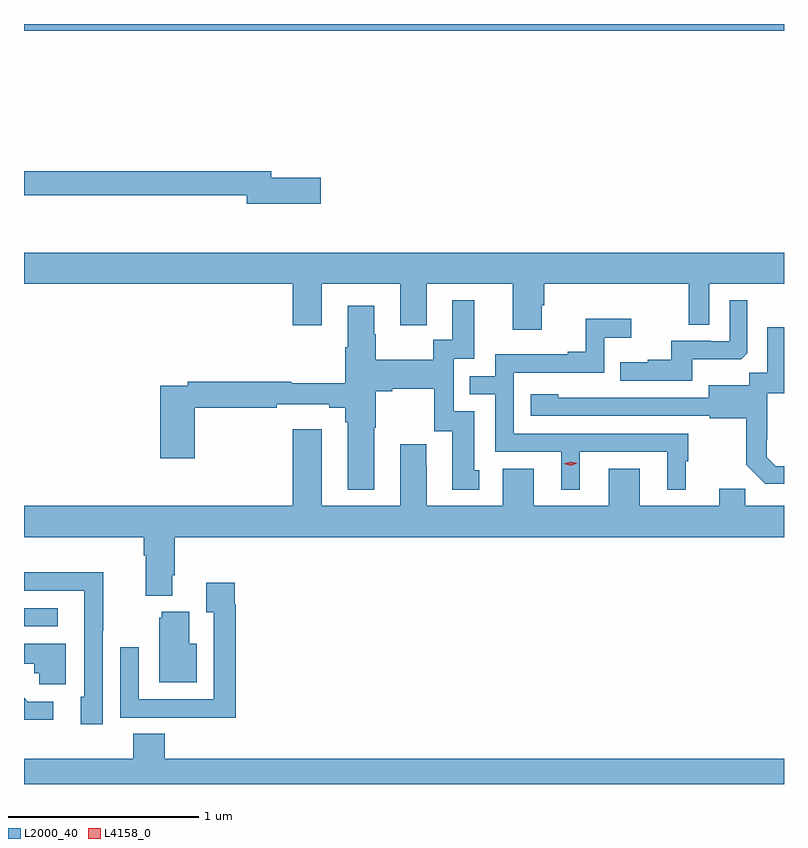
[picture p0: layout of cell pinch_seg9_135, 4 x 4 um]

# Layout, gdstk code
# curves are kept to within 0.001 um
import gdstk
lib = gdstk.Library(unit=1e-6, precision=1e-09)
def R(c, l, rs):  # rectangles x0, y0, x1, y1
    for r in rs: c.add(gdstk.rectangle(r[:2], r[2:], *l))
def P(c, l, *ps):  # polygons
    for p in ps: c.add(gdstk.Polygon(p, *l))
L2000_40 = (2000, 40)
L4158_0 = (4158, 0)

pinch_seg9_135 = lib.new_cell('pinch_seg9_135')
R(pinch_seg9_135, L2000_40, [(650.13,1238.574,650.308,1238.67), (650.13,1241.708,654.13,1241.744)])
P(pinch_seg9_135, L2000_40, [(651.691,1240.934),(651.43,1240.934),(651.43,1240.97),(650.13,1240.97),(650.13,1240.842),(651.302,1240.842),(651.302,1240.799),(651.691,1240.799)],
  [(652.855,1240.263),(652.868,1240.263),(652.868,1240.376),(653.628,1240.376),(653.628,1240.162),(653.736,1240.162),(653.736,1240.376),(654.13,1240.376),(654.13,1240.54),(650.13,1240.54),(650.13,1240.376),(651.545,1240.376),(651.545,1240.158),(651.697,1240.158),(651.697,1240.376),(652.109,1240.376),(652.109,1240.158),(652.249,1240.158),(652.249,1240.376),(652.703,1240.376),(652.703,1240.134),(652.855,1240.134)],
  [(653.647,1239.98),(653.905,1239.98),(653.937,1240.011),(653.937,1240.291),(653.844,1240.291),(653.844,1240.074),(653.744,1240.074),(653.744,1240.077),(653.537,1240.077),(653.537,1239.976),(653.413,1239.976),(653.413,1239.964),(653.269,1239.964),(653.269,1239.867),(653.647,1239.867)],
  [(651.973,1239.619),(651.981,1239.619),(651.981,1239.812),(652.069,1239.812),(652.069,1239.824),(652.289,1239.824),(652.289,1239.6),(652.385,1239.6),(652.385,1239.294),(652.525,1239.294),(652.525,1239.396),(652.501,1239.396),(652.501,1239.705),(652.392,1239.705),(652.392,1239.981),(652.501,1239.981),(652.501,1240.291),(652.385,1240.291),(652.385,1240.082),(652.284,1240.082),(652.284,1239.976),(651.981,1239.976),(651.981,1240.11),(651.973,1240.11),(651.973,1240.261),(651.833,1240.261),(651.833,1240.043),(651.821,1240.043),(651.821,1239.853),(651.537,1239.853),(651.537,1239.86),(650.992,1239.86),(650.992,1239.84),(650.846,1239.84),(650.846,1239.459),(651.029,1239.459),(651.029,1239.724),(651.461,1239.724),(651.461,1239.743),(651.737,1239.743),(651.737,1239.724),(651.821,1239.724),(651.821,1239.647),(651.833,1239.647),(651.833,1239.293),(651.973,1239.293)],
  [(653.056,1239.492),(653.516,1239.492),(653.516,1239.293),(653.614,1239.293),(653.614,1239.444),(653.626,1239.444),(653.626,1239.588),(652.707,1239.588),(652.707,1239.909),(653.184,1239.909),(653.184,1240.094),(653.326,1240.094),(653.326,1240.193),(653.086,1240.193),(653.086,1240.018),(652.991,1240.018),(652.991,1240.005),(652.611,1240.005),(652.611,1239.891),(652.477,1239.891),(652.477,1239.795),(652.611,1239.795),(652.611,1239.492),(652.958,1239.492),(652.958,1239.293),(653.056,1239.293)],
  [(654.13,1239.417),(654.087,1239.417),(654.04,1239.464),(654.04,1239.559),(654.042,1239.559),(654.042,1239.8),(654.13,1239.8),(654.13,1240.147),(654.041,1240.147),(654.041,1239.908),(653.946,1239.908),(653.946,1239.844),(653.735,1239.844),(653.735,1239.777),(652.941,1239.778),(652.941,1239.796),(652.797,1239.796),(652.797,1239.681),(653.739,1239.681),(653.739,1239.669),(653.931,1239.669),(653.931,1239.423),(654.031,1239.323),(654.13,1239.323)],
  [(650.911,1238.842),(650.924,1238.842),(650.924,1239.044),(654.13,1239.044),(654.13,1239.208),(653.927,1239.208),(653.927,1239.299),(653.789,1239.299),(653.789,1239.208),(653.371,1239.208),(653.371,1239.403),(653.207,1239.403),(653.207,1239.208),(652.813,1239.208),(652.813,1239.403),(652.649,1239.403),(652.649,1239.208),(652.249,1239.208),(652.249,1239.419),(652.246,1239.419),(652.246,1239.532),(652.109,1239.532),(652.109,1239.208),(651.697,1239.208),(651.697,1239.61),(651.545,1239.61),(651.545,1239.208),(650.13,1239.208),(650.13,1239.044),(650.759,1239.044),(650.759,1238.948),(650.771,1238.948),(650.771,1238.735),(650.911,1238.735)],
  [(650.544,1238.551),(650.547,1238.551),(650.547,1238.858),(650.13,1238.858),(650.13,1238.76),(650.447,1238.76),(650.447,1238.542),(650.448,1238.542),(650.448,1238.202),(650.429,1238.202),(650.429,1238.058),(650.544,1238.058)],
  [(651.245,1238.69),(651.238,1238.69),(651.238,1238.803),(651.089,1238.803),(651.089,1238.647),(651.129,1238.647),(651.129,1238.19),(650.733,1238.19),(650.733,1238.464),(650.637,1238.464),(650.637,1238.094),(650.953,1238.094),(650.953,1238.093),(651.245,1238.093)],
  [(651.04,1238.482),(651.001,1238.482),(651.001,1238.65),(650.855,1238.65),(650.855,1238.619),(650.843,1238.619),(650.843,1238.279),(651.04,1238.279)],
  [(650.35,1238.482),(650.13,1238.482),(650.13,1238.378),(650.185,1238.378),(650.185,1238.328),(650.211,1238.328),(650.211,1238.27),(650.35,1238.27)],
  [(650.284,1238.178),(650.149,1238.178),(650.13,1238.197),(650.13,1238.081),(650.284,1238.081)],
  [(654.13,1237.876),(650.87,1237.876),(650.87,1238.009),(650.705,1238.009),(650.705,1237.876),(650.13,1237.876),(650.13,1237.744),(654.13,1237.744)])
P(pinch_seg9_135, L4158_0, [(653.007,1239.42),(652.972,1239.429),(652.971,1239.429),(652.972,1239.429),(653.007,1239.44),(653.042,1239.431),(653.043,1239.431),(653.042,1239.431)])

lib.write_gds('pinch_seg9_135.gds')
